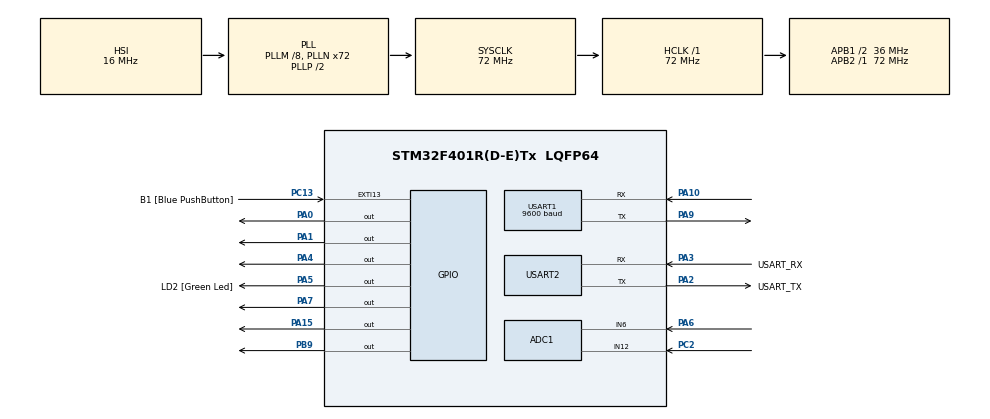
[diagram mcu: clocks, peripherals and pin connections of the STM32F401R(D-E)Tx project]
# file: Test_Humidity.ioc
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ADC1.Channel-0\#ChannelRegularConversion=ADC_CHANNEL_6
ADC1.Channel-1\#ChannelRegularConversion=ADC_CHANNEL_12
ADC1.ContinuousConvMode=ENABLE
ADC1.NbrOfConversion=2
ADC1.NbrOfConversionFlag=1
ADC1.Rank-0\#ChannelRegularConversion=1
ADC1.Rank-1\#ChannelRegularConversion=2
ADC1.SamplingTime-0\#ChannelRegularConversion=ADC_SAMPLETIME_28CYCLES
ADC1.SamplingTime-1\#ChannelRegularConversion=ADC_SAMPLETIME_84CYCLES
ADC1.ScanConvMode=ENABLE
ADC1.master=1
Mcu.Family=STM32F4
Mcu.Name=STM32F401R(D-E)Tx
Mcu.Package=LQFP64
NVIC.PriorityGroup=NVIC_PRIORITYGROUP_0
NVIC.TIM2_IRQn=true\:0\:0\:false\:false\:true\:true\:true\:true
NVIC.TIM3_IRQn=true\:0\:0\:false\:false\:true\:true\:true\:true
NVIC.USART1_IRQn=true\:0\:0\:false\:false\:true\:true\:true\:true
PA0-WKUP.Signal=GPIO_Output
PA1.Signal=GPIO_Output
PA10.Mode=Asynchronous
PA10.Signal=USART1_RX
PA13.GPIO_Label=TMS
PA13.Mode=Serial_Wire
PA13.Signal=SYS_JTMS-SWDIO
PA14.GPIO_Label=TCK
PA14.Mode=Serial_Wire
PA14.Signal=SYS_JTCK-SWCLK
PA15.Signal=GPIO_Output
PA2.GPIO_Label=USART_TX
PA2.GPIO_Mode=GPIO_MODE_AF_PP
PA2.GPIO_PuPd=GPIO_NOPULL
PA2.GPIO_Speed=GPIO_SPEED_FREQ_LOW
PA2.Mode=Asynchronous
PA2.Signal=USART2_TX
PA3.GPIO_Label=USART_RX
PA3.GPIO_Mode=GPIO_MODE_AF_PP
PA3.GPIO_PuPd=GPIO_NOPULL
PA3.GPIO_Speed=GPIO_SPEED_FREQ_LOW
PA3.Mode=Asynchronous
PA3.Signal=USART2_RX
PA4.Signal=GPIO_Output
PA5.GPIO_Label=LD2 [Green Led]
PA5.GPIO_Mode=GPIO_MODE_OUTPUT_PP
PA5.GPIO_PuPd=GPIO_NOPULL
PA5.GPIO_Speed=GPIO_SPEED_FREQ_LOW
PA5.Signal=GPIO_Output
PA6.Signal=ADCx_IN6
PA7.Signal=GPIO_Output
PA9.Mode=Asynchronous
PA9.Signal=USART1_TX
PB3.GPIO_Label=SWO
PB3.Signal=SYS_JTDO-SWO
PB9.Signal=GPIO_Output
PC13-ANTI_TAMP.GPIO_Label=B1 [Blue PushButton]
PC13-ANTI_TAMP.GPIO_ModeDefaultEXTI=GPIO_MODE_IT_FALLING
PC13-ANTI_TAMP.GPIO_PuPd=GPIO_NOPULL
PC13-ANTI_TAMP.Signal=GPXTI13
PC14-OSC32_IN.Mode=LSE-External-Oscillator
PC14-OSC32_IN.Signal=RCC_OSC32_IN
PC15-OSC32_OUT.Mode=LSE-External-Oscillator
PC15-OSC32_OUT.Signal=RCC_OSC32_OUT
PC2.Signal=ADCx_IN12
PH0\ -\ OSC_IN.Mode=HSE-External-Oscillator
PH0\ -\ OSC_IN.Signal=RCC_OSC_IN
PH1\ -\ OSC_OUT.Mode=HSE-External-Oscillator
PH1\ -\ OSC_OUT.Signal=RCC_OSC_OUT
ProjectManager.HeapSize=0x200
ProjectManager.StackSize=0x400
ProjectManager.TargetToolchain=STM32CubeIDE
RCC.48MHZClocksFreq_Value=20571428.57142857
RCC.AHBFreq_Value=72000000
RCC.APB1CLKDivider=RCC_HCLK_DIV2
RCC.APB1Freq_Value=36000000
RCC.APB1TimFreq_Value=72000000
RCC.APB2Freq_Value=72000000
RCC.APB2TimFreq_Value=72000000
RCC.CortexFreq_Value=72000000
RCC.HCLKFreq_Value=72000000
RCC.HSE_VALUE=8000000
RCC.HSI_VALUE=16000000
RCC.PLLM=8
RCC.PLLN=72
RCC.PLLQ=7
RCC.SYSCLKFreq_VALUE=72000000
RCC.SYSCLKSource=RCC_SYSCLKSOURCE_PLLCLK
RCC.VCOOutputFreq_Value=144000000
SH.ADCx_IN12.0=ADC1_IN12,IN12
SH.ADCx_IN6.0=ADC1_IN6,IN6
TIM1.AutoReloadPreload=TIM_AUTORELOAD_PRELOAD_ENABLE
TIM1.Period=63555
TIM1.Prescaler=71
TIM3.AutoReloadPreload=TIM_AUTORELOAD_PRELOAD_ENABLE
TIM3.Period=1000-1
TIM3.Prescaler=72-1
USART1.BaudRate=9600
USART1.VirtualMode=VM_ASYNC
USART2.VirtualMode=VM_ASYNC
VP_TIM1_VS_ClockSourceINT.Mode=Internal
VP_TIM2_VS_ClockSourceINT.Mode=Internal
VP_TIM3_VS_ClockSourceINT.Mode=Internal
board=NUCLEO-F401RE

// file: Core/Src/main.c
/* USER CODE BEGIN Header */
/**
  ******************************************************************************
  * @file           : main.c
  * @brief          : Main program body
  ******************************************************************************
  * @attention
  *
  * Copyright (c) 2023 STMicroelectronics.
  * All rights reserved.
  *
  * This software is licensed under terms that can be found in the LICENSE file
  * in the root directory of this software component.
  * If no LICENSE file comes with this software, it is provided AS-IS.
  *
  ******************************************************************************
  */
/* USER CODE END Header */
#include "main.h"

/* USER CODE BEGIN Includes */
	uint32_t Test =0;
/* USER CODE END Includes */

ADC_HandleTypeDef hadc1;

TIM_HandleTypeDef htim1;
TIM_HandleTypeDef htim2;
TIM_HandleTypeDef htim3;

UART_HandleTypeDef huart1;
UART_HandleTypeDef huart2;

void SystemClock_Config(void);
static void MX_GPIO_Init(void);
static void MX_USART2_UART_Init(void);
static void MX_TIM1_Init(void);
static void MX_ADC1_Init(void);
static void MX_USART1_UART_Init(void);
static void MX_TIM3_Init(void);
static void MX_TIM2_Init(void);

/* USER CODE BEGIN 0 */
#define DHT11_PORT GPIOA
#define DHT11_PIN GPIO_PIN_15
uint8_t RHI, RHD, TCI, TCD, SUM;
uint32_t pMillis, cMillis;
float tCelsius = 0;
float tFahrenheit = 0;
float RH = 0;
//float lux;

uint16_t ADC_VAL[3];
uint8_t ADC_Percent[3];
int max_lux = 4950;
int min_lux = 0;
int min_humid = 1000;
int max_humid = 3000;
uint16_t var;
int second;
char text[100];
int interrupt[1];
uint32_t Time;
int Valveisopen;

void Openvalve() {
	if(Valveisopen == 0) {
		if(ADC_VAL[0] > 1800 && ADC_VAL[2] < 35 && ADC_VAL[1] > 1750) {
			HAL_GPIO_WritePin(GPIOA, GPIO_PIN_4, GPIO_PIN_SET);
			Valveisopen = 1;
		}
	}
	else {
		if(ADC_VAL[0] <= 1800 || ADC_VAL[2] >= 35 || ADC_VAL[1] < 1300) {
			HAL_GPIO_WritePin(GPIOA, GPIO_PIN_4, GPIO_PIN_RESET);
			Valveisopen = 0;
		}
	}
}

void ADC_Select_CH0(void) {
		ADC_ChannelConfTypeDef sConfig = {0};
	  sConfig.Channel = ADC_CHANNEL_6;
	  sConfig.Rank = 1;
	  sConfig.SamplingTime = ADC_SAMPLETIME_28CYCLES;
	  if (HAL_ADC_ConfigChannel(&hadc1, &sConfig) != HAL_OK)
	  {
	    Error_Handler();
	  }
}

void ADC_Select_CH1(void) {
	ADC_ChannelConfTypeDef sConfig = {0};
	sConfig.Channel = ADC_CHANNEL_12;
	  sConfig.Rank = 1;
	  sConfig.SamplingTime = ADC_SAMPLETIME_84CYCLES;
	  if (HAL_ADC_ConfigChannel(&hadc1, &sConfig) != HAL_OK)
	  {
	    Error_Handler();
	  }
}

void microDelay (uint16_t delay)
{
  __HAL_TIM_SET_COUNTER(&htim1, 0);
  while (__HAL_TIM_GET_COUNTER(&htim1) < delay);
}

uint8_t DHT11_Start (void)
{
  uint8_t Response = 0;
  GPIO_InitTypeDef GPIO_InitStructPrivate = {0};
  GPIO_InitStructPrivate.Pin = DHT11_PIN;
  GPIO_InitStructPrivate.Mode = GPIO_MODE_OUTPUT_PP;
  GPIO_InitStructPrivate.Speed = GPIO_SPEED_FREQ_LOW;
  GPIO_InitStructPrivate.Pull = GPIO_NOPULL;
  HAL_GPIO_Init(DHT11_PORT, &GPIO_InitStructPrivate); // set the pin as output
  HAL_GPIO_WritePin (DHT11_PORT, DHT11_PIN, 0);   // pull the pin low
  HAL_Delay(20);   // wait for 20ms
  HAL_GPIO_WritePin (DHT11_PORT, DHT11_PIN, 1);   // pull the pin high
  microDelay (30);   // wait for 30us
  GPIO_InitStructPrivate.Mode = GPIO_MODE_INPUT;
  GPIO_InitStructPrivate.Pull = GPIO_PULLUP;
  HAL_GPIO_Init(DHT11_PORT, &GPIO_InitStructPrivate); // set the pin as input
  microDelay (40);
  if (!(HAL_GPIO_ReadPin (DHT11_PORT, DHT11_PIN)))
  {
    microDelay (80);
    if ((HAL_GPIO_ReadPin (DHT11_PORT, DHT11_PIN))) Response = 1;
  }
  pMillis = HAL_GetTick();
  cMillis = HAL_GetTick();
  while ((HAL_GPIO_ReadPin (DHT11_PORT, DHT11_PIN)) && pMillis + 2 > cMillis)
  {
    cMillis = HAL_GetTick();
  }
  return Response;
}

uint8_t DHT11_Read (void)
{
  uint8_t a,b;
  for (a=0;a<8;a++)
  {
    pMillis = HAL_GetTick();
    cMillis = HAL_GetTick();
    while (!(HAL_GPIO_ReadPin (DHT11_PORT, DHT11_PIN)) && pMillis + 2 > cMillis)
    {  // wait for the pin to go high
      cMillis = HAL_GetTick();
    }
    microDelay (40);   // wait for 40 us
    if (!(HAL_GPIO_ReadPin (DHT11_PORT, DHT11_PIN)))   // if the pin is low
      b&= ~(1<<(7-a));
    else
      b|= (1<<(7-a));
    pMillis = HAL_GetTick();
    cMillis = HAL_GetTick();
    while ((HAL_GPIO_ReadPin (DHT11_PORT, DHT11_PIN)) && pMillis + 2 > cMillis)
    {  // wait for the pin to go low
      cMillis = HAL_GetTick();
    }
  }
  return b;
}

	void HAL_UART_RxCpltCallback(UART_HandleTypeDef *huart)
	{
		if(Valveisopen == 0) {
			HAL_GPIO_WritePin(GPIOA, GPIO_PIN_4,GPIO_PIN_SET);
			Valveisopen = 1;
		}
		else {
			HAL_GPIO_WritePin(GPIOA, GPIO_PIN_4,GPIO_PIN_RESET);
			Valveisopen = 0;
		}

		HAL_UART_Transmit(&huart2, interrupt, 1, 1000);
		HAL_UART_Receive_IT(&huart1, interrupt, 1);
	}

/* USER CODE END 0 */

int main(void)
{
  /* USER CODE BEGIN 1 */
	Time = 0;
  /* USER CODE END 1 */

  /* MCU Configuration--------------------------------------------------------*/

  /* Reset of all peripherals, Initializes the Flash interface and the Systick. */
  HAL_Init();

  /* Configure the system clock */
  SystemClock_Config();

  /* Initialize all configured peripherals */
  MX_GPIO_Init();
  MX_USART2_UART_Init();
  MX_TIM1_Init();
  MX_ADC1_Init();
  MX_USART1_UART_Init();
  MX_TIM3_Init();
  MX_TIM2_Init();
  /* USER CODE BEGIN 2 */
  HAL_TIM_Base_Start(&htim1);
  HAL_TIM_Base_Start_IT(&htim3);
  HAL_UART_Receive_IT(&huart1, interrupt, 1);
  /* USER CODE END 2 */

  /* Infinite loop */
  /* USER CODE BEGIN WHILE */
  while (1)
  {
	  if(DHT11_Start())
	      {
	        RHI = DHT11_Read(); // Relative humidity integral
	        RHD = DHT11_Read(); // Relative humidity decimal
	        TCI = DHT11_Read(); // Celsius integral
	        TCD = DHT11_Read(); // Celsius decimal
	        SUM = DHT11_Read(); // Check sum
	        if (RHI + RHD + TCI + TCD == SUM)
	        {
	          // Can use RHI and TCI for any purposes if whole number only needed
	          tCelsius = (float)TCI + (float)(TCD/10.0);
	          tFahrenheit = tCelsius * 9/5 + 32;
	          RH = (float)RHI + (float)(RHD/10.0);
	          // Can use tCelsius, tFahrenheit and RH for any purposes
	        }
	      }

	      ADC_Select_CH0();
	      HAL_ADC_Start(&hadc1);
	      HAL_ADC_PollForConversion(&hadc1,1000);
	      ADC_VAL[0] = HAL_ADC_GetValue(&hadc1);
	      HAL_ADC_Stop(&hadc1);

	      ADC_Select_CH1();
	      HAL_ADC_Start(&hadc1);
	      HAL_ADC_PollForConversion(&hadc1,1000);
	      ADC_VAL[1] = HAL_ADC_GetValue(&hadc1);
	      HAL_ADC_Stop(&hadc1);

	      ADC_VAL[2] = TCI;

	      if(ADC_VAL[0] < min_lux) ADC_VAL[0] = min_lux;
	      else if(ADC_VAL[0] > max_lux) ADC_VAL[0] = max_lux;

	      if(ADC_VAL[1] > max_humid) ADC_VAL[1] = max_humid;
	      else if(ADC_VAL[1] < min_humid) ADC_VAL[1] = min_humid;

	      ADC_Percent[0] = ADC_VAL[0]*100/4095;
	      ADC_Percent[1] = (3000 - ADC_VAL[1])/20;
	      ADC_Percent[2] = TCI;

//	      sprintf(text,"%d %d %d",ADC_Percent[0],ADC_Percent[1],ADC_Percent[2]);
	      int len = sprintf(text,"%d %d %d\n",ADC_Percent[0],ADC_Percent[1],ADC_Percent[2]);
	      HAL_UART_Transmit(&huart1, text, len, 1000);
	      HAL_UART_Transmit(&huart2, text, len, 1000);

//	      HAL_UART_Transmit(&huart1, ADC_Percent, 3, 1000);
	      //HAL_UART_Transmit(&huart1, text, sizeof(text), HAL_MAX_DELAY);
	      //HAL_UART_Transmit(&huart1, ADC_Percent[0], , Timeout)
	      //lux = (1.25*pow(10,7)) * pow(ADC_VAL[0],-1.4059);

	      HAL_Delay(5000);
    /* USER CODE END WHILE */

  }
}

void SystemClock_Config(void)
{
  RCC_OscInitTypeDef RCC_OscInitStruct = {0};
  RCC_ClkInitTypeDef RCC_ClkInitStruct = {0};

  /** Configure the main internal regulator output voltage
  */
  __HAL_RCC_PWR_CLK_ENABLE();
  __HAL_PWR_VOLTAGESCALING_CONFIG(PWR_REGULATOR_VOLTAGE_SCALE2);

  /** Initializes the RCC Oscillators according to the specified parameters
  * in the RCC_OscInitTypeDef structure.
  */
  RCC_OscInitStruct.OscillatorType = RCC_OSCILLATORTYPE_HSI;
  RCC_OscInitStruct.HSIState = RCC_HSI_ON;
  RCC_OscInitStruct.HSICalibrationValue = RCC_HSICALIBRATION_DEFAULT;
  RCC_OscInitStruct.PLL.PLLState = RCC_PLL_ON;
  RCC_OscInitStruct.PLL.PLLSource = RCC_PLLSOURCE_HSI;
  RCC_OscInitStruct.PLL.PLLM = 8;
  RCC_OscInitStruct.PLL.PLLN = 72;
  RCC_OscInitStruct.PLL.PLLP = RCC_PLLP_DIV2;
  RCC_OscInitStruct.PLL.PLLQ = 7;
  if (HAL_RCC_OscConfig(&RCC_OscInitStruct) != HAL_OK)
  {
    Error_Handler();
  }

  /** Initializes the CPU, AHB and APB buses clocks
  */
  RCC_ClkInitStruct.ClockType = RCC_CLOCKTYPE_HCLK|RCC_CLOCKTYPE_SYSCLK
                              |RCC_CLOCKTYPE_PCLK1|RCC_CLOCKTYPE_PCLK2;
  RCC_ClkInitStruct.SYSCLKSource = RCC_SYSCLKSOURCE_PLLCLK;
  RCC_ClkInitStruct.AHBCLKDivider = RCC_SYSCLK_DIV1;
  RCC_ClkInitStruct.APB1CLKDivider = RCC_HCLK_DIV2;
  RCC_ClkInitStruct.APB2CLKDivider = RCC_HCLK_DIV1;

  if (HAL_RCC_ClockConfig(&RCC_ClkInitStruct, FLASH_LATENCY_2) != HAL_OK)
  {
    Error_Handler();
  }
}

static void MX_ADC1_Init(void)
{

  ADC_ChannelConfTypeDef sConfig = {0};

  /** Configure the global features of the ADC (Clock, Resolution, Data Alignment and number of conversion)
  */
  hadc1.Instance = ADC1;
  hadc1.Init.ClockPrescaler = ADC_CLOCK_SYNC_PCLK_DIV2;
  hadc1.Init.Resolution = ADC_RESOLUTION_12B;
  hadc1.Init.ScanConvMode = ENABLE;
  hadc1.Init.ContinuousConvMode = ENABLE;
  hadc1.Init.DiscontinuousConvMode = DISABLE;
  hadc1.Init.ExternalTrigConvEdge = ADC_EXTERNALTRIGCONVEDGE_NONE;
  hadc1.Init.ExternalTrigConv = ADC_SOFTWARE_START;
  hadc1.Init.DataAlign = ADC_DATAALIGN_RIGHT;
  hadc1.Init.NbrOfConversion = 2;
  hadc1.Init.DMAContinuousRequests = DISABLE;
  hadc1.Init.EOCSelection = ADC_EOC_SINGLE_CONV;
  if (HAL_ADC_Init(&hadc1) != HAL_OK)
  {
    Error_Handler();
  }

  /** Configure for the selected ADC regular channel its corresponding rank in the sequencer and its sample time.
  */
  sConfig.Channel = ADC_CHANNEL_6;
  sConfig.Rank = 1;
  sConfig.SamplingTime = ADC_SAMPLETIME_28CYCLES;
  if (HAL_ADC_ConfigChannel(&hadc1, &sConfig) != HAL_OK)
  {
    Error_Handler();
  }

  /** Configure for the selected ADC regular channel its corresponding rank in the sequencer and its sample time.
  */
  sConfig.Channel = ADC_CHANNEL_12;
  sConfig.Rank = 2;
  sConfig.SamplingTime = ADC_SAMPLETIME_84CYCLES;
  if (HAL_ADC_ConfigChannel(&hadc1, &sConfig) != HAL_OK)
  {
    Error_Handler();
  }

}

static void MX_TIM1_Init(void)
{

  TIM_ClockConfigTypeDef sClockSourceConfig = {0};
  TIM_MasterConfigTypeDef sMasterConfig = {0};

  htim1.Instance = TIM1;
  htim1.Init.Prescaler = 71;
  htim1.Init.CounterMode = TIM_COUNTERMODE_UP;
  htim1.Init.Period = 63555;
  htim1.Init.ClockDivision = TIM_CLOCKDIVISION_DIV1;
  htim1.Init.RepetitionCounter = 0;
  htim1.Init.AutoReloadPreload = TIM_AUTORELOAD_PRELOAD_ENABLE;
  if (HAL_TIM_Base_Init(&htim1) != HAL_OK)
  {
    Error_Handler();
  }
  sClockSourceConfig.ClockSource = TIM_CLOCKSOURCE_INTERNAL;
  if (HAL_TIM_ConfigClockSource(&htim1, &sClockSourceConfig) != HAL_OK)
  {
    Error_Handler();
  }
  sMasterConfig.MasterOutputTrigger = TIM_TRGO_RESET;
  sMasterConfig.MasterSlaveMode = TIM_MASTERSLAVEMODE_DISABLE;
  if (HAL_TIMEx_MasterConfigSynchronization(&htim1, &sMasterConfig) != HAL_OK)
  {
    Error_Handler();
  }

}

static void MX_TIM2_Init(void)
{

  TIM_ClockConfigTypeDef sClockSourceConfig = {0};
  TIM_MasterConfigTypeDef sMasterConfig = {0};

  htim2.Instance = TIM2;
  htim2.Init.Prescaler = 0;
  htim2.Init.CounterMode = TIM_COUNTERMODE_UP;
  htim2.Init.Period = 4294967295;
  htim2.Init.ClockDivision = TIM_CLOCKDIVISION_DIV1;
  htim2.Init.AutoReloadPreload = TIM_AUTORELOAD_PRELOAD_DISABLE;
  if (HAL_TIM_Base_Init(&htim2) != HAL_OK)
  {
    Error_Handler();
  }
  sClockSourceConfig.ClockSource = TIM_CLOCKSOURCE_INTERNAL;
  if (HAL_TIM_ConfigClockSource(&htim2, &sClockSourceConfig) != HAL_OK)
  {
    Error_Handler();
  }
  sMasterConfig.MasterOutputTrigger = TIM_TRGO_RESET;
  sMasterConfig.MasterSlaveMode = TIM_MASTERSLAVEMODE_DISABLE;
  if (HAL_TIMEx_MasterConfigSynchronization(&htim2, &sMasterConfig) != HAL_OK)
  {
    Error_Handler();
  }

}

static void MX_TIM3_Init(void)
{

  TIM_ClockConfigTypeDef sClockSourceConfig = {0};
  TIM_MasterConfigTypeDef sMasterConfig = {0};

  htim3.Instance = TIM3;
  htim3.Init.Prescaler = 72-1;
  htim3.Init.CounterMode = TIM_COUNTERMODE_UP;
  htim3.Init.Period = 1000-1;
  htim3.Init.ClockDivision = TIM_CLOCKDIVISION_DIV1;
  htim3.Init.AutoReloadPreload = TIM_AUTORELOAD_PRELOAD_ENABLE;
  if (HAL_TIM_Base_Init(&htim3) != HAL_OK)
  {
    Error_Handler();
  }
  sClockSourceConfig.ClockSource = TIM_CLOCKSOURCE_INTERNAL;
  if (HAL_TIM_ConfigClockSource(&htim3, &sClockSourceConfig) != HAL_OK)
  {
    Error_Handler();
  }
  sMasterConfig.MasterOutputTrigger = TIM_TRGO_RESET;
  sMasterConfig.MasterSlaveMode = TIM_MASTERSLAVEMODE_DISABLE;
  if (HAL_TIMEx_MasterConfigSynchronization(&htim3, &sMasterConfig) != HAL_OK)
  {
    Error_Handler();
  }

}

static void MX_USART1_UART_Init(void)
{

  huart1.Instance = USART1;
  huart1.Init.BaudRate = 9600;
  huart1.Init.WordLength = UART_WORDLENGTH_8B;
  huart1.Init.StopBits = UART_STOPBITS_1;
  huart1.Init.Parity = UART_PARITY_NONE;
  huart1.Init.Mode = UART_MODE_TX_RX;
  huart1.Init.HwFlowCtl = UART_HWCONTROL_NONE;
  huart1.Init.OverSampling = UART_OVERSAMPLING_16;
  if (HAL_UART_Init(&huart1) != HAL_OK)
  {
    Error_Handler();
  }

}

static void MX_USART2_UART_Init(void)
{

  huart2.Instance = USART2;
  huart2.Init.BaudRate = 115200;
  huart2.Init.WordLength = UART_WORDLENGTH_8B;
  huart2.Init.StopBits = UART_STOPBITS_1;
  huart2.Init.Parity = UART_PARITY_NONE;
  huart2.Init.Mode = UART_MODE_TX_RX;
  huart2.Init.HwFlowCtl = UART_HWCONTROL_NONE;
  huart2.Init.OverSampling = UART_OVERSAMPLING_16;
  if (HAL_UART_Init(&huart2) != HAL_OK)
  {
    Error_Handler();
  }

}

static void MX_GPIO_Init(void)
{
  GPIO_InitTypeDef GPIO_InitStruct = {0};

  /* GPIO Ports Clock Enable */
  __HAL_RCC_GPIOC_CLK_ENABLE();
  __HAL_RCC_GPIOH_CLK_ENABLE();
  __HAL_RCC_GPIOA_CLK_ENABLE();
  __HAL_RCC_GPIOB_CLK_ENABLE();

  /*Configure GPIO pin Output Level */
  HAL_GPIO_WritePin(GPIOA, GPIO_PIN_0|GPIO_PIN_1|GPIO_PIN_4|LD2_Pin
                          |GPIO_PIN_7|GPIO_PIN_15, GPIO_PIN_RESET);

  /*Configure GPIO pin Output Level */
  HAL_GPIO_WritePin(GPIOB, GPIO_PIN_9, GPIO_PIN_RESET);

  /*Configure GPIO pin : B1_Pin */
  GPIO_InitStruct.Pin = B1_Pin;
  GPIO_InitStruct.Mode = GPIO_MODE_IT_FALLING;
  GPIO_InitStruct.Pull = GPIO_NOPULL;
  HAL_GPIO_Init(B1_GPIO_Port, &GPIO_InitStruct);

  /*Configure GPIO pins : PA0 PA1 PA4 LD2_Pin
                           PA7 PA15 */
  GPIO_InitStruct.Pin = GPIO_PIN_0|GPIO_PIN_1|GPIO_PIN_4|LD2_Pin
                          |GPIO_PIN_7|GPIO_PIN_15;
  GPIO_InitStruct.Mode = GPIO_MODE_OUTPUT_PP;
  GPIO_InitStruct.Pull = GPIO_NOPULL;
  GPIO_InitStruct.Speed = GPIO_SPEED_FREQ_LOW;
  HAL_GPIO_Init(GPIOA, &GPIO_InitStruct);

  /*Configure GPIO pin : PB9 */
  GPIO_InitStruct.Pin = GPIO_PIN_9;
  GPIO_InitStruct.Mode = GPIO_MODE_OUTPUT_PP;
  GPIO_InitStruct.Pull = GPIO_NOPULL;
  GPIO_InitStruct.Speed = GPIO_SPEED_FREQ_LOW;
  HAL_GPIO_Init(GPIOB, &GPIO_InitStruct);

}

/* USER CODE BEGIN 4 */
void HAL_TIM_PeriodElapsedCallback(TIM_HandleTypeDef* htim){
		if(htim->Instance == htim3.Instance) Time+=1;
		if(Time == 1000) {
			second += 1;
			Time = 0;
		}
		if(Valveisopen == 0 && second >= 5) {
			Openvalve();
			second = 0;
		}
		if(Valveisopen == 1 && second >= 5) {
			Openvalve();
			second = 0;
		}
	}
/* USER CODE END 4 */

void Error_Handler(void)
{
  __disable_irq();
  while (1)
  {
  }
}
